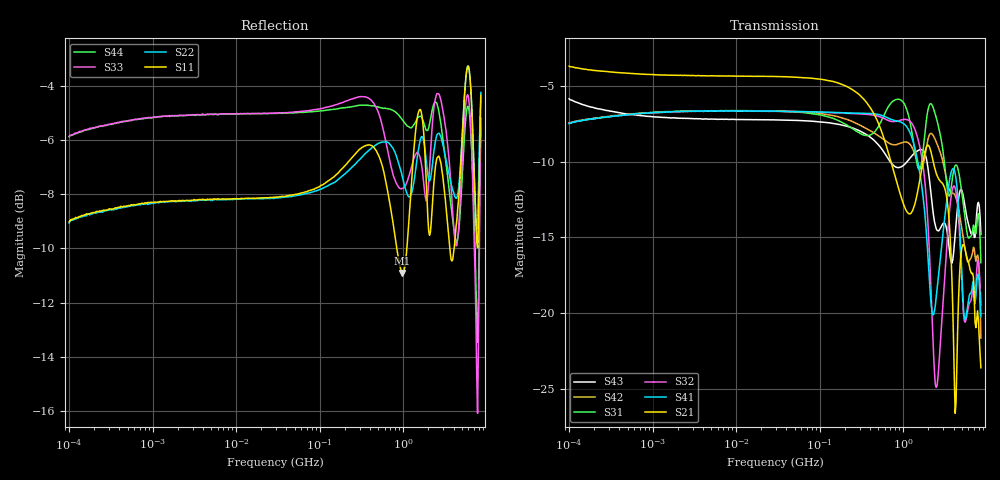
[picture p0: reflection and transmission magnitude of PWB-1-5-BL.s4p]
# MHz S MA R 50
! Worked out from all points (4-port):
!   498 points, 100 kHz to 8.5 GHz, reference 50 ohm
!   strongest paths, dB at 100 kHz, 1.698 MHz, 29.49 MHz, 500.7 MHz, 8.5 GHz:
!     S21: -3.7, -4.3, -4.4, -7.4, -23.6
!     S41: -7.5, -6.7, -6.7, -6.9, -20.3
!     S32: -7.5, -6.7, -6.7, -7.0, -19.5
!     S31: -7.5, -6.7, -6.7, -7.7, -16.7
!     S42: -7.4, -6.7, -6.7, -8.3, -21.7
!     S43: -5.9, -7.1, -7.2, -8.9, -14.8
!   lowest |S11| = -10.9 dB at 970.9 MHz (marker M1), VSWR 1.80, Z = 39.2 - j24 ohm
!   |S11| at or under -10 dB: 837.7 MHz to 1.104 GHz (266.3 MHz wide, 27.4 % of centre); 3.608 GHz to 4.065 GHz (457.5 MHz wide, 11.9 % of centre)
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0.1  0.3539 11.9  0.6535 -6.5  0.4233 12.3  0.4221 -167.7
     0.6535 -6.5  0.3524 12.7  0.424 -168.1  0.4251 11.8
     0.4233 12.3  0.424 -168.1  0.5087 11.7  0.5097 -12.2
     0.4221 -167.7  0.4251 11.8  0.5097 -12.2  0.5088 12.1
339.572  0.4882 -31.9  0.5071 -78.7  0.3866 -33.3  0.4566 89.0
         0.5071 -78.7  0.4707 -26.2  0.4539 88.6  0.4104 -41.4
         0.3866 -33.3  0.4539 88.6  0.6028 -38.0  0.3925 -86.2
         0.4566 89.0  0.4104 -41.4  0.3925 -86.2  0.5816 -32.7
970.9031  0.285 -99.0  0.2357 139.8  0.5007 -100.5  0.4249 -55.1
          0.2357 139.8  0.4305 -106.8  0.4348 -49.4  0.3651 -98.6
          0.5007 -100.5  0.4348 -49.4  0.4082 -103.6  0.3051 110.8
          0.4249 -55.1  0.3651 -98.6  0.3051 110.8  0.5469 -104.6
3257.229  0.3766 109.6  0.2476 55.1  0.2784 28.5  0.2255 127.2
          0.2476 55.1  0.4607 110.7  0.1539 145.5  0.2817 27.7
          0.2784 28.5  0.1539 145.5  0.5218 97.1  0.1929 103.8
          0.2255 127.2  0.2817 27.7  0.1929 103.8  0.4519 90.2
4383.155  0.3567 7.6  0.06757 3.5  0.3065 -67.0  0.2631 -44.4
          0.06757 3.5  0.3918 -9.3  0.2395 -31.9  0.2349 -81.2
          0.3065 -67.0  0.2395 -31.9  0.3201 -31.6  0.2112 19.7
          0.2631 -44.4  0.2349 -81.2  0.2112 19.7  0.3244 -27.4
6764.496  0.5264 -158.2  0.1353 103.6  0.187 62.3  0.1245 107.7
          0.1353 103.6  0.5291 -161.7  0.12 121.1  0.1584 41.4
          0.187 62.3  0.12 121.1  0.4256 -142.3  0.1864 133.0
          0.1245 107.7  0.1584 41.4  0.1864 133.0  0.4377 -154.1
8500  0.6063 -37.6  0.06584 -81.0  0.1465 -128.7  0.09694 -91.1
      0.06584 -81.0  0.6138 -43.7  0.1063 -78.1  0.08252 -150.8
      0.1465 -128.7  0.1063 -78.1  0.535 -26.1  0.1818 -73.9
      0.09694 -91.1  0.08252 -150.8  0.1818 -73.9  0.5498 -39.2
